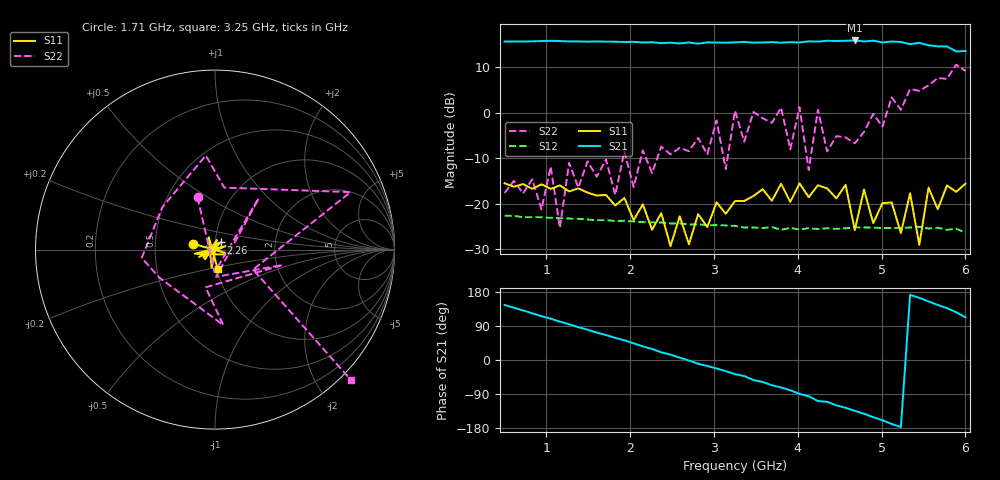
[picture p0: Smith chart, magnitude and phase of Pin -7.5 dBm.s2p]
! RsaToolbox (C) 2015 Rohde & Schwarz America
! Number of points: 51
! Number of ports: 2
! Balanced ports?: No
# Hz S RI R 50
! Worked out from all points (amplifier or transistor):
!   51 points, 500 MHz to 6 GHz, reference 50 ohm
!   highest |S21| = 15.9 dB at 4.68 GHz (marker M1)
!   |S21| within 3 dB of that: start of sweep to end of sweep
!   unconditionally stable (mu >= 1): start of sweep to 3.004 GHz; 3.047 GHz to 3.219 GHz; 4.29 GHz to 4.8 GHz (the widest 3 of 6)
!   at 1.38 GHz: K = 1.35, MAG = 16.0 dB, |S12| = -23.3 dB
!   at 3.25 GHz: K = 0.08, MSG = 20.2 dB, |S12| = -24.9 dB
!   at 6 GHz: K = -15.10, MSG = 20.0 dB, |S12| = -26.4 dB
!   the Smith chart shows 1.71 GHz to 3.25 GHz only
!   S11 on the Smith chart (normalised r, x): 1.71 GHz: 0.78, +0.05; 2.26 GHz: 1.06, +0.09; 3.25 GHz: 1.01, -0.22
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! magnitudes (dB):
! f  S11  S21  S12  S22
! 500 MHz  -15.5  15.6  -22.6  -17.7
! 940 MHz  -15.7  15.7  -23.0  -21.3
! 1.05 GHz  -16.8  15.8  -23.1  -11.9
! 1.16 GHz  -16.0  15.7  -23.2  -25.3
! 1.27 GHz  -17.3  15.7  -23.3  -11.0
! 1.49 GHz  -17.6  15.6  -23.5  -10.7
! 1.71 GHz  -18.1  15.6  -23.6  -10.3
! 2.26 GHz  -25.7  15.5  -24.1  -13.3
! 2.37 GHz  -22.1  15.3  -24.1  -7.5
! 3.03 GHz  -19.7  15.4  -24.7  -1.7
! 3.14 GHz  -22.2  15.4  -24.8  -12.4
! 3.25 GHz  -19.4  15.5  -24.9  0.4
! 3.91 GHz  -19.6  15.5  -25.3  -8.1
! 4.02 GHz  -15.5  15.4  -25.7  1.2
! 4.13 GHz  -18.6  15.7  -25.4  -12.6
! 4.24 GHz  -15.9  15.6  -25.6  0.6
! 4.68 GHz  -25.8  15.9  -25.2  -6.7
! 5.12 GHz  -19.7  15.6  -25.3  3.3
! 5.34 GHz  -17.7  15.0  -25.2  5.2
! 5.45 GHz  -29.1  15.3  -25.1  4.8
! 5.56 GHz  -16.5  14.8  -25.5  6.0
! 6 GHz  -15.6  13.5  -26.4  9.2
